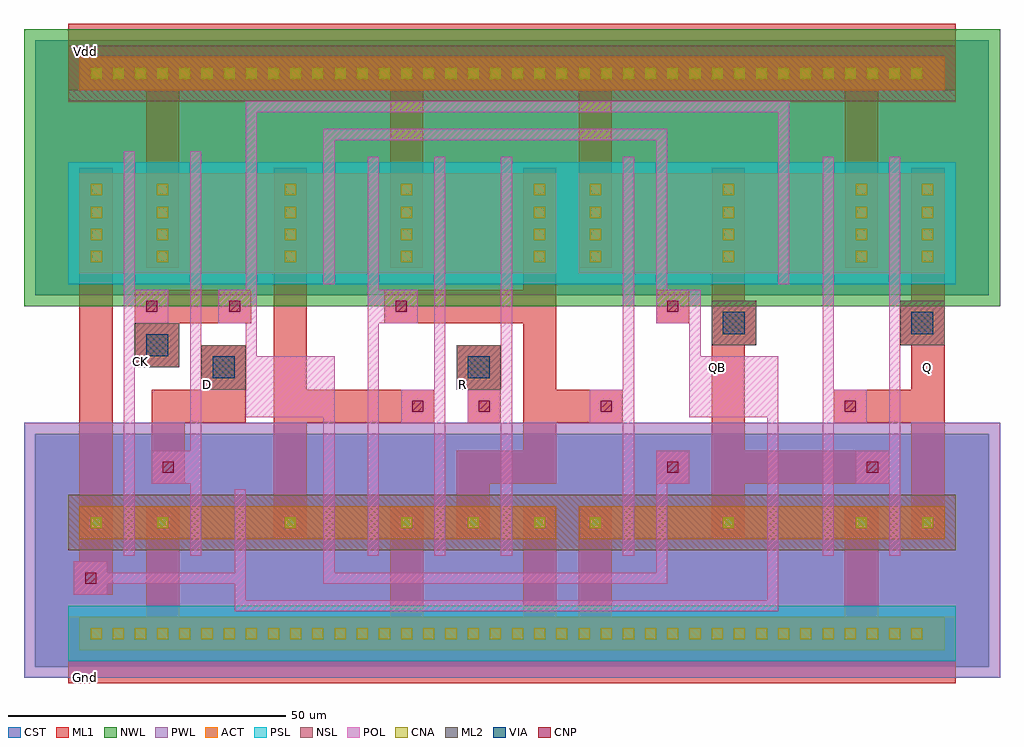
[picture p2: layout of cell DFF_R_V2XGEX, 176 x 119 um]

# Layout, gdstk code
import gdstk
lib = gdstk.Library(unit=1e-6, precision=1e-09)
def R(c, l, rs):  # rectangles x0, y0, x1, y1
    for r in rs: c.add(gdstk.rectangle(r[:2], r[2:], *l))
def A(c, l, x, y, w, h, nx, ny, dx, dy):  # array of equal rectangles
    R(c, l, [(x+i*dx, y+j*dy, x+i*dx+w, y+j*dy+h) for i in range(nx) for j in range(ny)])
NWL = (1, 0)
PWL = (2, 0)
CST = (3, 0)
ACT = (4, 0)
POL = (7, 0)
NSL = (8, 0)
PSL = (9, 0)
CNA = (10, 0)
CNP = (11, 0)
ML1 = (12, 0)
VIA = (13, 0)
ML2 = (14, 0)

dff_r_v2xgex = lib.new_cell('DFF_R_V2XGEX')
R(dff_r_v2xgex, NWL, [(-8,68,168,118)])
R(dff_r_v2xgex, PWL, [(-8,1,168,47)])
R(dff_r_v2xgex, CST, [(-6,3,166,45), (-6,70,166,116)])
R(dff_r_v2xgex, ACT, [(2,6,158,12), (2,26,88,32), (92,26,158,32), (2,74,88,92), (92,74,158,92), (2,107,158,113)])
A(dff_r_v2xgex, POL, 54, 23, 2, 72, 3, 1, 12, 0)
R(dff_r_v2xgex, POL, [(30,13,32,20), (32,13,126,15), (126,13,128,24), (1,16,7,22), (7,18,30,20), (46,18,48,48), (48,18,106,20), (106,18,108,24), (30,20,32,35), (10,23,12,96), (22,23,24,96), (100,23,102,95), (136,23,138,95), (148,23,150,95), (106,24,108,36), (126,24,128,48), (15,36,21,42), (21,36,22,42), (106,36,112,42), (142,36,148,42), (60,47,66,53), (72,47,78,53), (94,47,100,53), (138,47,144,53), (32,48,48,59), (112,48,128,59), (32,59,34,104), (112,59,114,71), (12,65,18,71), (27,65,33,71), (55,65,57,71), (57,65,63,71), (106,65,112,71), (106,71,108,95), (46,72,48,100), (128,72,130,105), (106,95,108,100), (48,98,106,100), (32,103,128,105)])
R(dff_r_v2xgex, NSL, [(0,24,160,34), (0,105,160,115)])
R(dff_r_v2xgex, PSL, [(0,4,160,14), (0,72,160,94)])
A(dff_r_v2xgex, CNA, 4, 8, 2, 2, 38, 2, 4, 101)
A(dff_r_v2xgex, CNA, 60, 28, 2, 2, 3, 1, 12, 0)
A(dff_r_v2xgex, CNA, 94, 28, 2, 2, 3, 2, 24, 48)
A(dff_r_v2xgex, CNA, 4, 76, 2, 2, 1, 4, 0, 4)
A(dff_r_v2xgex, CNA, 16, 76, 2, 2, 1, 4, 0, 4)
A(dff_r_v2xgex, CNA, 39, 76, 2, 2, 1, 4, 0, 4)
A(dff_r_v2xgex, CNA, 60, 76, 2, 2, 1, 4, 0, 4)
A(dff_r_v2xgex, CNA, 84, 76, 2, 2, 1, 4, 0, 4)
A(dff_r_v2xgex, CNA, 154, 76, 2, 2, 1, 4, 0, 4)
A(dff_r_v2xgex, CNA, 94, 80, 2, 2, 3, 3, 24, 4)
R(dff_r_v2xgex, CNA, [(4,28,6,30), (16,28,18,30), (39,28,41,30), (154,28,156,30)])
R(dff_r_v2xgex, CNP, [(3,18,5,20), (17,38,19,40), (108,38,110,40), (144,38,146,40), (62,49,64,51), (74,49,76,51), (96,49,98,51), (140,49,142,51), (14,67,16,69), (29,67,31,69), (59,67,61,69), (108,67,110,69)])
R(dff_r_v2xgex, ML1, [(0,0,160,12), (58,6,64,32), (82,6,88,32), (92,6,98,32), (140,6,146,32), (14,12,20,32), (1,16,7,22), (2,16,8,26), (2,26,8,32), (37,26,43,93), (70,26,76,36), (116,26,122,93), (152,26,158,93), (2,32,8,93), (15,36,21,42), (70,36,82,42), (82,36,88,71), (106,36,112,42), (122,36,142,42), (142,36,148,42), (15,42,21,47), (15,47,32,53), (42,47,60,53), (60,47,66,53), (72,47,78,53), (88,47,94,53), (94,47,100,53), (138,47,144,53), (144,47,152,53), (24,53,32,61), (70,53,78,61), (12,57,20,65), (116,61,124,69), (150,61,158,69), (12,65,18,71), (18,65,27,71), (27,65,33,71), (57,65,63,71), (63,65,82,71), (106,65,112,71), (82,71,88,93), (14,75,20,81), (14,75,20,113), (58,75,64,113), (92,75,98,113), (140,75,146,113), (0,107,160,119)])
R(dff_r_v2xgex, VIA, [(26,55,30,59), (72,55,76,59), (14,59,18,63), (118,63,122,67), (152,63,156,67)])
R(dff_r_v2xgex, ML2, [(24,53,32,61), (70,53,78,61), (12,57,20,65), (116,61,124,69), (150,61,158,69)])
dff_r_v2xgex.add(gdstk.Label('QB', (117,57), layer=12, texttype=0))
dff_r_v2xgex.add(gdstk.Label('Q', (155,57), layer=12, texttype=0))
dff_r_v2xgex.add(gdstk.Label('Gnd', (3,1), layer=12, texttype=0))
dff_r_v2xgex.add(gdstk.Label('CK', (13,58), layer=12, texttype=0))
dff_r_v2xgex.add(gdstk.Label('D', (25,54), layer=12, texttype=0))
dff_r_v2xgex.add(gdstk.Label('Vdd', (3,114), layer=12, texttype=0))
dff_r_v2xgex.add(gdstk.Label('R', (71,54), layer=12, texttype=0))

lib.write_gds('DFF_R_V2XGEX.gds')
